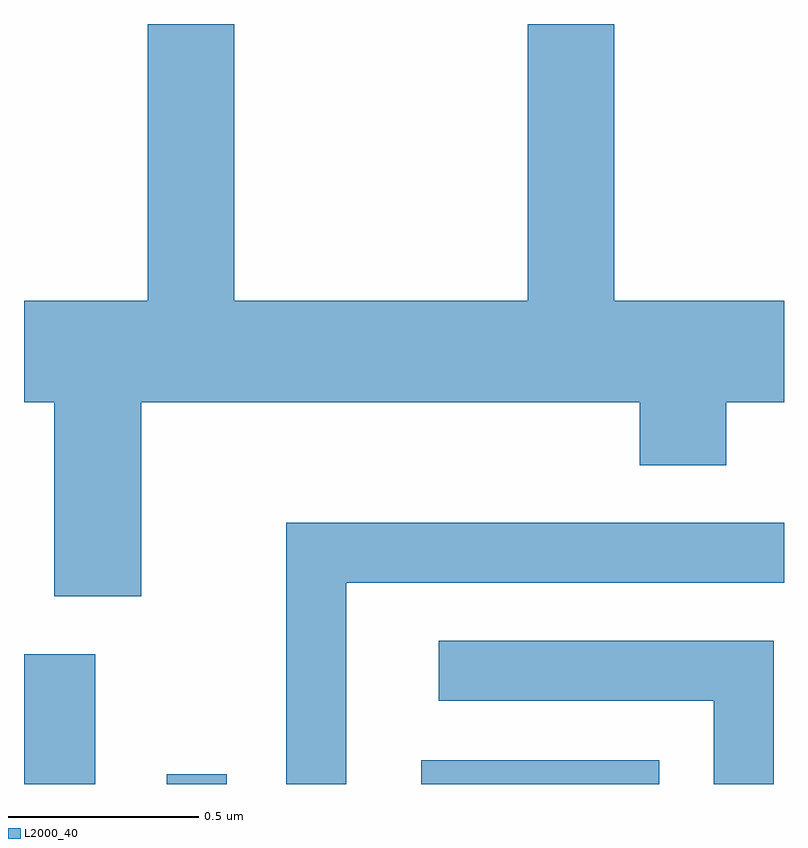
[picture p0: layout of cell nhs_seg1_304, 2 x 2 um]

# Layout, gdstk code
import gdstk
lib = gdstk.Library(unit=1e-6, precision=1e-09)
def R(c, l, rs):  # rectangles x0, y0, x1, y1
    for r in rs: c.add(gdstk.rectangle(r[:2], r[2:], *l))
def P(c, l, *ps):  # polygons
    for p in ps: c.add(gdstk.Polygon(p, *l))
L2000_40 = (2000, 40)

nhs_seg1_304 = lib.new_cell('nhs_seg1_304')
R(nhs_seg1_304, L2000_40, [(187.611,869.712,187.799,870.054), (187.986,869.712,188.144,869.738), (188.656,869.712,189.283,869.774)])
P(nhs_seg1_304, L2000_40, [(187.919,870.716),(189.231,870.716),(189.231,870.551),(189.459,870.551),(189.459,870.716),(189.611,870.716),(189.611,870.984),(189.164,870.984),(189.164,871.712),(188.936,871.712),(188.936,870.984),(188.164,870.984),(188.164,871.712),(187.936,871.712),(187.936,870.984),(187.611,870.984),(187.611,870.716),(187.691,870.716),(187.691,870.206),(187.919,870.206)],
  [(188.459,870.241),(189.611,870.241),(189.611,870.399),(188.301,870.399),(188.301,869.712),(188.459,869.712)],
  [(189.584,870.089),(188.703,870.089),(188.703,869.931),(189.426,869.931),(189.426,869.712),(189.584,869.712)])

lib.write_gds('nhs_seg1_304.gds')
